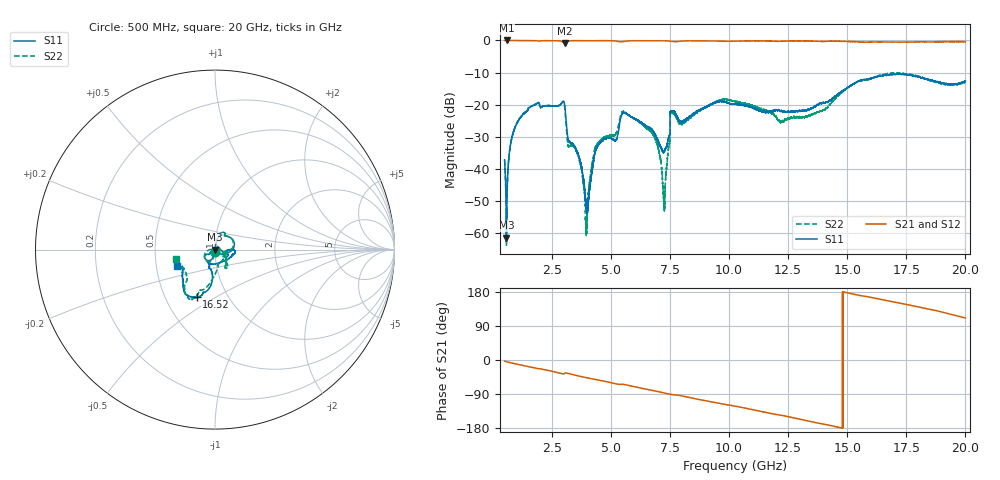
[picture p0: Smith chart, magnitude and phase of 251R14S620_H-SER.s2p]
!{251R14S620}
!Johanson Technology Inc.
!www.johansontechnology.com
!Test Board Conditions:
!Substrate Type  RO4350B
!Substrate Thickness  20 mil
!Substrate Dk  3.66
!TL Type: GCPW
!TL Trace Width  36 mil
!TL Gap  12 mil
!Electrode orientation  Horizontal
!DUT TOPOLOGY	SERIES
!Mounting Pad LxW  26x36 mil
! Created Wed Mar 11 15:51:49 2020
# mhz S ma R 50
! 2 Port Network Data from SP1.SP block
! freq  magS11  angS11  magS21  angS21  magS12  angS12  magS22  angS22
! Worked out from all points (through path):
!   19501 points, 500 MHz to 20 GHz, reference 50 ohm
!   highest |S21| = 0.00 dB at 581 MHz (marker M1); lowest = -0.8 dB at 3.042 GHz (marker M2)
!   group delay of S21, straight-line fit = 34.3 ps
!   lowest |S11| = -61.3 dB at 580 MHz (marker M3), VSWR 1.00, Z = 50.1 + j0.00731 ohm
!   |S11| at or under -10 dB: start of sweep to end of sweep
!   |S22| runs from -64.0 to -10.1 dB; largest |S21 - S12| = 0.019
!   S11 on the Smith chart (normalised r, x): 500 MHz: 1.00, -0.03; 16.52 GHz: 0.71, -0.41; 20 GHz: 0.64, -0.12
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500  0.01395 -89.2  0.998 -2.9  0.9977 -3.0  0.01396 -89.2
580  0.0008586 4.9  0.9986 -4.4  0.998 -4.4  0.0008191 14.6
581  0.001011 20.2  0.9997 -4.4  0.9987 -4.4  0.0006314 43.1
815  0.03098 80.6  0.9976 -8.1  0.9978 -8.1  0.03177 80.8
1217  0.06609 76.2  0.9957 -13.6  0.9964 -13.6  0.06708 75.0
3042  0.09916 0.5  0.9164 -35.4  0.9167 -35.4  0.09237 1.3
3213  0.02742 11.5  0.9821 -35.9  0.9814 -35.9  0.02213 25.9
3750  0.01097 26.7  0.994 -43.9  0.9943 -43.9  0.01035 48.9
3979  0.002352 -37.5  0.9943 -46.8  0.9941 -46.8  0.00171 -59.8
4372  0.02048 -134.0  0.9903 -51.7  0.9898 -51.6  0.02245 -121.8
5202  0.02807 -129.0  0.9801 -62.8  0.9786 -62.8  0.03477 -113.5
5528  0.07515 -130.6  0.9628 -64.4  0.9629 -64.4  0.07856 -129.6
7000  0.02741 -131.4  0.9909 -83.5  0.9906 -83.5  0.02183 178.6
7253  0.01871 -85.4  0.9882 -87.0  0.9874 -87.0  0.002517 -120.7
7598  0.07974 -23.5  0.9661 -91.3  0.9672 -91.3  0.07337 -24.5
7984  0.05311 -21.6  0.9776 -94.5  0.9775 -94.4  0.04954 -32.0
10250  0.1031 -15.9  0.9739 -121.7  0.9757 -121.7  0.1124 -59.2
12220  0.08107 -114.6  0.9729 -146.0  0.9766 -146.0  0.05516 -18.9
13500  0.08743 -110.9  0.9798 -163.0  0.9793 -163.1  0.07062 -47.3
16520  0.2845 -111.1  0.9483 158.5  0.9417 158.2  0.2932 -113.6
16750  0.2911 -114.7  0.946 155.6  0.9399 155.3  0.3062 -114.6
20000  0.2319 -156.5  0.9559 110.8  0.9561 111.1  0.2253 -166.3
